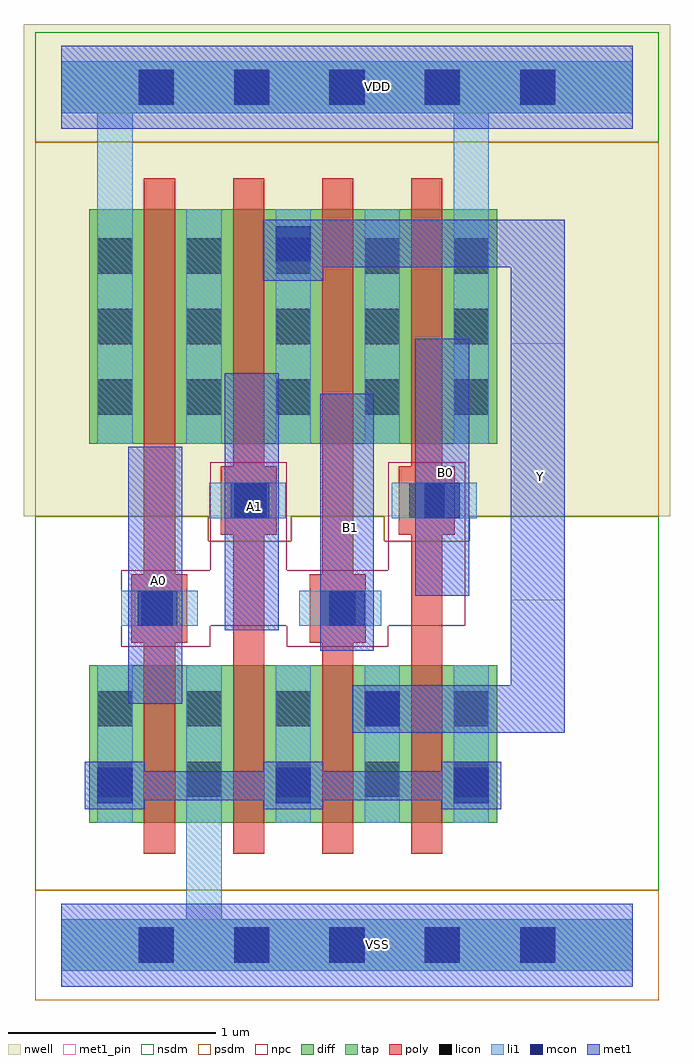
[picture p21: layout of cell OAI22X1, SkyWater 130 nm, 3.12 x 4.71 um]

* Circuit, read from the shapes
.subckt OAI22X1 A0 A1 B0 B1 VDD VSS Y
XM1 VSS A0 n1 VSS sky130_fd_pr__nfet_01v8 w=0.76 l=0.15
XM2 n1 A1 VSS VSS sky130_fd_pr__nfet_01v8 w=0.76 l=0.15
XM3 Y B1 n1 VSS sky130_fd_pr__nfet_01v8 w=0.76 l=0.15
XM4 n1 B0 Y VSS sky130_fd_pr__nfet_01v8 w=0.76 l=0.15
XM5 n2 A0 VDD VDD sky130_fd_pr__pfet_01v8 w=1.13 l=0.15
XM6 Y A1 n2 VDD sky130_fd_pr__pfet_01v8 w=1.13 l=0.15
XM7 n3 B1 Y VDD sky130_fd_pr__pfet_01v8 w=1.13 l=0.15
XM8 VDD B0 n3 VDD sky130_fd_pr__pfet_01v8 w=1.13 l=0.15
.ends

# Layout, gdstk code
from math import pi, radians
import gdstk
lib = gdstk.Library(unit=1e-6, precision=1e-09)
def R(c, l, rs):  # rectangles x0, y0, x1, y1
    for r in rs: c.add(gdstk.rectangle(r[:2], r[2:], *l))
def A(c, l, x, y, w, h, nx, ny, dx, dy):  # array of equal rectangles
    R(c, l, [(x+i*dx, y+j*dy, x+i*dx+w, y+j*dy+h) for i in range(nx) for j in range(ny)])
def P(c, l, *ps):  # polygons
    for p in ps: c.add(gdstk.Polygon(p, *l))
nwell = (64, 20)
diff = (65, 20)
tap = (65, 44)
poly = (66, 20)
licon = (66, 44)
li1 = (67, 20)
mcon = (67, 44)
met1_pin = (68, 16)
met1 = (68, 20)
nsdm = (93, 44)
psdm = (94, 20)
npc = (95, 20)

pfet_01v8_cdns_715785618 = lib.new_cell('pfet_01v8_CDNS_71578561820126')
R(pfet_01v8_cdns_715785618, nwell, [(-0.405,-0.18,0.385,1.31)])
R(pfet_01v8_cdns_715785618, diff, [(-0.225,0,0,1.13), (0,0,0.15,1.13), (0.15,0,0.205,1.13)])
R(pfet_01v8_cdns_715785618, poly, [(0,-0.15,0.15,-0.095), (0,-0.095,0.15,0), (0,0,0.15,1.13), (0,1.13,0.15,1.225), (0,1.225,0.15,1.28)])
R(pfet_01v8_cdns_715785618, psdm, [(-0.235,-0.13,0.215,1.26)])

nfet_01v8_cdns_715785618 = lib.new_cell('nfet_01v8_CDNS_71578561820127')
R(nfet_01v8_cdns_715785618, diff, [(-0.055,0,0,0.76), (0,0,0.15,0.76), (0.15,0,0.375,0.76)])
R(nfet_01v8_cdns_715785618, poly, [(0,-0.15,0.15,-0.095), (0,-0.095,0.15,0), (0,0,0.15,0.76), (0,0.76,0.15,0.855), (0,0.855,0.15,0.91)])
R(nfet_01v8_cdns_715785618, licon, [(0.205,0.125,0.375,0.295), (0.205,0.465,0.375,0.635)])
R(nfet_01v8_cdns_715785618, li1, [(0.205,0,0.375,0.76)])
R(nfet_01v8_cdns_715785618, nsdm, [(-0.065,-0.13,0.385,0.89)])

c_pfet_01v8_cdns_715785618 = lib.new_cell('pfet_01v8_CDNS_71578561820128')
R(c_pfet_01v8_cdns_715785618, nwell, [(-0.445,-0.18,0.385,1.31)])
R(c_pfet_01v8_cdns_715785618, diff, [(-0.265,0,0,1.13), (0,0,0.15,1.13), (0.15,0,0.205,1.13)])
R(c_pfet_01v8_cdns_715785618, poly, [(0,-0.15,0.15,-0.095), (0,-0.095,0.15,0), (0,0,0.15,1.13), (0,1.13,0.15,1.225), (0,1.225,0.15,1.28)])
A(c_pfet_01v8_cdns_715785618, licon, -0.225, 0.14, 0.17, 0.17, 1, 3, 0, 0.34)
R(c_pfet_01v8_cdns_715785618, li1, [(-0.225,0,-0.055,1.13)])
R(c_pfet_01v8_cdns_715785618, psdm, [(-0.405,-0.13,0.215,1.26)])

c_pfet_01v8_cdns_715785618_ = lib.new_cell('pfet_01v8_CDNS_71578561820129')
R(c_pfet_01v8_cdns_715785618_, nwell, [(-0.445,-0.18,0.555,1.31)])
R(c_pfet_01v8_cdns_715785618_, diff, [(-0.265,0,0,1.13), (0,0,0.15,1.13), (0.15,0,0.375,1.13)])
R(c_pfet_01v8_cdns_715785618_, poly, [(0,-0.15,0.15,-0.095), (0,-0.095,0.15,0), (0,0,0.15,1.13), (0,1.13,0.15,1.225), (0,1.225,0.15,1.28)])
A(c_pfet_01v8_cdns_715785618_, licon, -0.225, 0.14, 0.17, 0.17, 1, 3, 0, 0.34)
R(c_pfet_01v8_cdns_715785618_, li1, [(-0.225,0,-0.055,1.13)])
R(c_pfet_01v8_cdns_715785618_, psdm, [(-0.405,-0.13,0.385,1.26)])

c_nfet_01v8_cdns_715785618 = lib.new_cell('nfet_01v8_CDNS_7157856182020')
R(c_nfet_01v8_cdns_715785618, diff, [(-0.265,0,0,0.76), (0,0,0.15,0.76), (0.15,0,0.205,0.76)])
R(c_nfet_01v8_cdns_715785618, poly, [(0,-0.15,0.15,-0.095), (0,-0.095,0.15,0), (0,0,0.15,0.76), (0,0.76,0.15,0.855), (0,0.855,0.15,0.91)])
R(c_nfet_01v8_cdns_715785618, licon, [(-0.225,0.125,-0.055,0.295), (-0.225,0.465,-0.055,0.635)])
R(c_nfet_01v8_cdns_715785618, li1, [(-0.225,0,-0.055,0.76)])
R(c_nfet_01v8_cdns_715785618, nsdm, [(-0.405,-0.13,0.215,0.89)])

c_pfet_01v8_cdns_715785618__ = lib.new_cell('pfet_01v8_CDNS_71578561820130')
R(c_pfet_01v8_cdns_715785618__, nwell, [(-0.235,-0.18,0.555,1.31)])
R(c_pfet_01v8_cdns_715785618__, diff, [(-0.055,0,0,1.13), (0,0,0.15,1.13), (0.15,0,0.375,1.13)])
R(c_pfet_01v8_cdns_715785618__, poly, [(0,-0.15,0.15,-0.095), (0,-0.095,0.15,0), (0,0,0.15,1.13), (0,1.13,0.15,1.225), (0,1.225,0.15,1.28)])
A(c_pfet_01v8_cdns_715785618__, licon, 0.205, 0.14, 0.17, 0.17, 1, 3, 0, 0.34)
R(c_pfet_01v8_cdns_715785618__, li1, [(0.205,0,0.375,1.13)])
R(c_pfet_01v8_cdns_715785618__, psdm, [(-0.065,-0.13,0.385,1.26)])

c_nfet_01v8_cdns_715785618_ = lib.new_cell('nfet_01v8_CDNS_715785618207')
R(c_nfet_01v8_cdns_715785618_, diff, [(-0.225,0,0,0.76), (0,0,0.15,0.76), (0.15,0,0.415,0.76)])
R(c_nfet_01v8_cdns_715785618_, poly, [(0,-0.15,0.15,-0.095), (0,-0.095,0.15,0), (0,0,0.15,0.76), (0,0.76,0.15,0.855), (0,0.855,0.15,0.91)])
R(c_nfet_01v8_cdns_715785618_, licon, [(-0.225,0.125,-0.055,0.295), (0.205,0.125,0.375,0.295), (-0.225,0.465,-0.055,0.635), (0.205,0.465,0.375,0.635)])
R(c_nfet_01v8_cdns_715785618_, li1, [(-0.225,0,-0.055,0.76), (0.205,0,0.375,0.76)])
R(c_nfet_01v8_cdns_715785618_, nsdm, [(-0.235,-0.13,0.555,0.89)])

c_nfet_01v8_cdns_715785618__ = lib.new_cell('nfet_01v8_CDNS_71578561820131')
R(c_nfet_01v8_cdns_715785618__, diff, [(-0.055,0,0,0.76), (0,0,0.15,0.76), (0.15,0,0.375,0.76)])
R(c_nfet_01v8_cdns_715785618__, poly, [(0,-0.15,0.15,-0.095), (0,-0.095,0.15,0), (0,0,0.15,0.76), (0,0.76,0.15,0.855), (0,0.855,0.15,0.91)])
R(c_nfet_01v8_cdns_715785618__, licon, [(0.205,0.125,0.375,0.295), (0.205,0.465,0.375,0.635)])
R(c_nfet_01v8_cdns_715785618__, li1, [(0.205,0,0.375,0.76)])
R(c_nfet_01v8_cdns_715785618__, nsdm, [(-0.065,-0.13,0.385,0.89)])

l1m1_c_cdns_715785618203 = lib.new_cell('L1M1_C_CDNS_715785618203')
R(l1m1_c_cdns_715785618203, li1, [(-0.165,-0.085,0.165,0.085)])
R(l1m1_c_cdns_715785618203, mcon, [(-0.085,-0.085,0.085,0.085)])
R(l1m1_c_cdns_715785618203, met1, [(-0.115,-0.145,0.115,0.145)])

pyl1con_c_cdns_715785618 = lib.new_cell('PYL1CON_C_CDNS_715785618200')
R(pyl1con_c_cdns_715785618, poly, [(-0.135,-0.165,0.135,0.165)])
R(pyl1con_c_cdns_715785618, licon, [(-0.085,-0.085,0.085,0.085)])
R(pyl1con_c_cdns_715785618, npc, [(-0.185,-0.185,0.185,0.185)])

licondiff_c_cdns_7157856 = lib.new_cell('LICONDIFF_C_CDNS_7157856182013')
R(licondiff_c_cdns_7157856, diff, [(-0.125,-0.145,0.125,0.145)])
R(licondiff_c_cdns_7157856, licon, [(-0.085,-0.085,0.085,0.085), (-0.085,-0.085,0.085,0.085)])

oai22x1 = lib.new_cell('OAI22X1')
R(oai22x1, nwell, [(-0.18,2.07,2.94,4.305), (-0.18,3.875,2.94,4.445)])
A(oai22x1, licon, 0.375, -0.085, 0.17, 0.17, 5, 1, 0.46, 0)
R(oai22x1, licon, [(0.375,4.055,0.545,4.225), (0.375,4.055,0.545,4.225), (0.835,4.055,1.005,4.225), (0.835,4.055,1.005,4.225), (1.295,4.055,1.465,4.225), (1.295,4.055,1.465,4.225), (1.755,4.055,1.925,4.225), (1.755,4.055,1.925,4.225), (2.215,4.055,2.385,4.225), (2.215,4.055,2.385,4.225)])
R(oai22x1, li1, [(0.62,1.54,0.66,1.71), (1.15,1.54,1.215,1.71), (0.715,2.06,0.755,2.23), (1.595,2.06,1.675,2.23)])
A(oai22x1, mcon, 0.375, -0.085, 0.17, 0.17, 5, 1, 0.46, 0)
R(oai22x1, mcon, [(0.375,4.055,0.545,4.225), (0.375,4.055,0.545,4.225), (0.835,4.055,1.005,4.225), (0.835,4.055,1.005,4.225), (1.295,4.055,1.465,4.225), (1.295,4.055,1.465,4.225), (1.755,4.055,1.925,4.225), (1.755,4.055,1.925,4.225), (2.215,4.055,2.385,4.225), (2.215,4.055,2.385,4.225)])
R(oai22x1, met1_pin, [(0.325,1.165,0.585,2.405), (1.25,1.42,1.51,2.66), (0.79,1.52,1.05,2.76), (2.17,1.665,2.43,2.905), (1.71,1.685,1.97,2.925)])
R(oai22x1, nsdm, [(-0.125,3.875,2.885,4.405), (-0.125,3.875,2.885,4.405), (-0.125,3.93,2.885,4.35), (-0.125,3.93,2.885,4.35)])
P(oai22x1, nsdm, [(2.885,2.07),(1.97,2.07),(1.97,1.95),(1.56,1.95),(1.56,2.07),(1.11,2.07),(1.11,1.95),(0.71,1.95),(0.71,2.07),(-0.125,2.07),(-0.125,0.265),(2.885,0.265)])
R(oai22x1, psdm, [(-0.125,-0.265,2.885,0.265), (-0.125,-0.21,2.885,0.21)])
P(oai22x1, psdm, [(2.885,3.875),(-0.125,3.875),(-0.125,2.07),(0.71,2.07),(0.71,1.95),(1.11,1.95),(1.11,2.07),(1.56,2.07),(1.56,1.95),(1.97,1.95),(1.97,2.07),(2.885,2.07)])
P(oai22x1, npc, [(1.95,2.33),(1.58,2.33),(1.58,1.81),(1.09,1.81),(1.09,2.33),(0.72,2.33),(0.72,1.81),(0.29,1.81),(0.29,1.44),(0.72,1.44),(0.72,1.54),(1.09,1.54),(1.09,1.44),(1.58,1.44),(1.58,1.54),(1.95,1.54)])
oai22x1.add(gdstk.FlexPath([(0.475,2.27),(0.475,1.395)], 0.15, ends="flush", simple_path=True, layer=66, datatype=20))  # poly
oai22x1.add(gdstk.FlexPath([(0.905,2.27),(0.905,1.5)], 0.15, ends="flush", simple_path=True, layer=66, datatype=20))  # poly
oai22x1.add(gdstk.FlexPath([(1.335,2.27),(1.335,1.5)], 0.15, ends="flush", simple_path=True, layer=66, datatype=20))  # poly
oai22x1.add(gdstk.FlexPath([(1.765,2.27),(1.765,1.5)], 0.15, ends="flush", simple_path=True, layer=66, datatype=20))  # poly
oai22x1.add(gdstk.FlexPath([(0.69,3.115),(0.69,3.55)], 0.17, ends="flush", simple_path=True, layer=67, datatype=20))  # li1
oai22x1.add(gdstk.FlexPath([(0.69,2.775),(0.69,3.155)], 0.17, ends="flush", simple_path=True, layer=67, datatype=20))  # li1
oai22x1.add(gdstk.FlexPath([(1.55,2.73),(1.55,3.55)], 0.17, ends="flush", simple_path=True, layer=67, datatype=20))  # li1
oai22x1.add(gdstk.FlexPath([(1.55,2.42),(1.55,2.815)], 0.17, ends="flush", simple_path=True, layer=67, datatype=20))  # li1
oai22x1.add(gdstk.FlexPath([(1.55,3.155),(1.55,3.215)], 0.17, ends="flush", simple_path=True, layer=67, datatype=20))  # li1
oai22x1.add(gdstk.FlexPath([(0.69,2.42),(0.69,2.815)], 0.17, ends="flush", simple_path=True, layer=67, datatype=20))  # li1
oai22x1.add(gdstk.FlexPath([(0.26,3.55),(0.26,4.14)], 0.17, ends=(0, 0.085), simple_path=True, layer=67, datatype=20))  # li1
oai22x1.add(gdstk.FlexPath([(0.69,0.59),(0.69,0.005)], 0.17, ends="flush", simple_path=True, layer=67, datatype=20))  # li1
oai22x1.add(gdstk.FlexPath([(1.98,3.55),(1.98,4.14)], 0.17, ends="flush", simple_path=True, layer=67, datatype=20))  # li1
oai22x1.add(gdstk.FlexPath([(2.675,4.14),(0,4.14)], 0.25, ends=(0.085, 0), simple_path=True, layer=67, datatype=20))  # li1
oai22x1.add(gdstk.FlexPath([(2.675,4.14),(0,4.14)], 0.25, ends=(0.085, 0), simple_path=True, layer=67, datatype=20))  # li1
oai22x1.add(gdstk.FlexPath([(2.675,0),(0,0)], 0.25, ends=(0.085, 0), simple_path=True, layer=67, datatype=20))  # li1
oai22x1.add(gdstk.FlexPath([(0.26,4.14),(0.215,4.14)], 0.17, ends=(0.085, 0), simple_path=True, layer=67, datatype=20))  # li1
oai22x1.add(gdstk.FlexPath([(0,4.14),(2.76,4.14)], 0.4, ends="flush", simple_path=True, layer=68, datatype=16))  # met1_pin
oai22x1.add(gdstk.FlexPath([(0,4.14),(2.76,4.14)], 0.4, ends="flush", simple_path=True, layer=68, datatype=16))  # met1_pin
oai22x1.add(gdstk.FlexPath([(0,0),(2.76,0)], 0.4, ends="flush", simple_path=True, layer=68, datatype=16))  # met1_pin
oai22x1.add(gdstk.FlexPath([(0,4.14),(2.76,4.14)], 0.25, ends="flush", simple_path=True, layer=65, datatype=44))  # tap
oai22x1.add(gdstk.FlexPath([(0,0),(2.76,0)], 0.25, ends="flush", simple_path=True, layer=65, datatype=44))  # tap
oai22x1.add(gdstk.FlexPath([(0,4.14),(2.76,4.14)], 0.25, ends="flush", simple_path=True, layer=65, datatype=44))  # tap
oai22x1.add(gdstk.FlexPath([(1.38,1.42),(1.38,2.66)], 0.26, ends="flush", simple_path=True, layer=68, datatype=20))  # met1
oai22x1.add(gdstk.FlexPath([(0.92,1.52),(0.92,2.76)], 0.26, ends="flush", simple_path=True, layer=68, datatype=20))  # met1
oai22x1.add(gdstk.FlexPath([(1.84,1.685),(1.84,2.925)], 0.26, ends="flush", simple_path=True, layer=68, datatype=20))  # met1
oai22x1.add(gdstk.FlexPath([(1.12,3.385),(2.25,3.385)], 0.23, ends=(0.145, 0), simple_path=True, layer=68, datatype=20))  # met1
oai22x1.add(gdstk.FlexPath([(1.55,1.14),(2.3,1.14)], 0.23, ends="flush", simple_path=True, layer=68, datatype=20))  # met1
oai22x1.add(gdstk.FlexPath([(2.3,1.025),(2.3,3.5)], 0.26, ends="flush", simple_path=True, layer=68, datatype=20))  # met1
oai22x1.add(gdstk.FlexPath([(0.26,0.77),(1.98,0.77)], 0.14, ends="flush", simple_path=True, layer=68, datatype=20))  # met1
oai22x1.add(gdstk.FlexPath([(1.12,3.205),(1.12,3.385)], 0.29, ends=(0, 0.115), simple_path=True, layer=68, datatype=20))  # met1
oai22x1.add(gdstk.FlexPath([(0.455,1.165),(0.455,2.405)], 0.26, ends="flush", simple_path=True, layer=68, datatype=20))  # met1
oai22x1.add(gdstk.FlexPath([(0,4.14),(2.76,4.14)], 0.4, ends="flush", simple_path=True, layer=68, datatype=20))  # met1
oai22x1.add(gdstk.FlexPath([(0,0),(2.76,0)], 0.4, ends="flush", simple_path=True, layer=68, datatype=20))  # met1
oai22x1.add(gdstk.Reference(pfet_01v8_cdns_715785618, (1.41,2.42), rotation=pi, x_reflection=True))
oai22x1.add(gdstk.Reference(nfet_01v8_cdns_715785618, (1.26,0.59)))
oai22x1.add(gdstk.Reference(c_pfet_01v8_cdns_715785618, (1.84,2.42), rotation=pi, x_reflection=True))
oai22x1.add(gdstk.Reference(c_pfet_01v8_cdns_715785618_, (0.4,2.42)))
oai22x1.add(gdstk.Reference(c_nfet_01v8_cdns_715785618, (1.84,0.59), rotation=pi, x_reflection=True))
oai22x1.add(gdstk.Reference(c_pfet_01v8_cdns_715785618__, (0.83,2.42)))
oai22x1.add(gdstk.Reference(c_nfet_01v8_cdns_715785618_, (0.55,0.59), rotation=pi, x_reflection=True))
oai22x1.add(gdstk.Reference(c_nfet_01v8_cdns_715785618__, (0.83,0.59)))
oai22x1.add(gdstk.Reference(l1m1_c_cdns_715785618203, (1.84,2.145), x_reflection=True))
oai22x1.add(gdstk.Reference(l1m1_c_cdns_715785618203, (1.38,1.625), x_reflection=True))
oai22x1.add(gdstk.Reference(l1m1_c_cdns_715785618203, (0.92,2.145), x_reflection=True))
oai22x1.add(gdstk.Reference(l1m1_c_cdns_715785618203, (0.455,1.625), x_reflection=True))
oai22x1.add(gdstk.Reference(l1m1_c_cdns_715785618203, (1.12,3.385), rotation=pi/2))
oai22x1.add(gdstk.Reference(l1m1_c_cdns_715785618203, (1.55,1.14), rotation=pi/2))
oai22x1.add(gdstk.Reference(l1m1_c_cdns_715785618203, (1.98,0.77), rotation=pi/2))
oai22x1.add(gdstk.Reference(l1m1_c_cdns_715785618203, (1.12,0.77), rotation=pi/2))
oai22x1.add(gdstk.Reference(l1m1_c_cdns_715785618203, (0.26,0.77), rotation=pi/2))
oai22x1.add(gdstk.Reference(pyl1con_c_cdns_715785618, (1.765,2.145), x_reflection=True))
oai22x1.add(gdstk.Reference(pyl1con_c_cdns_715785618, (1.335,1.625), x_reflection=True))
oai22x1.add(gdstk.Reference(pyl1con_c_cdns_715785618, (0.905,2.145), x_reflection=True))
oai22x1.add(gdstk.Reference(pyl1con_c_cdns_715785618, (0.475,1.625), x_reflection=True))
oai22x1.add(gdstk.Reference(licondiff_c_cdns_7157856, (1.55,3.325)))
oai22x1.add(gdstk.Reference(licondiff_c_cdns_7157856, (1.55,2.985)))
oai22x1.add(gdstk.Reference(licondiff_c_cdns_7157856, (1.55,2.645)))
oai22x1.add(gdstk.Reference(licondiff_c_cdns_7157856, (0.69,3.325)))
oai22x1.add(gdstk.Reference(licondiff_c_cdns_7157856, (0.69,2.985)))
oai22x1.add(gdstk.Reference(licondiff_c_cdns_7157856, (0.69,2.645)))
oai22x1.add(gdstk.Label('B1', (1.395,2.015), layer=68, texttype=20))
oai22x1.add(gdstk.Label('A1', (0.935,2.115), layer=68, texttype=20))
oai22x1.add(gdstk.Label('B0', (1.855,2.28), layer=68, texttype=20))
oai22x1.add(gdstk.Label('Y', (2.315,2.26), layer=68, texttype=20))
oai22x1.add(gdstk.Label('VDD', (1.525,4.145), layer=68, texttype=20))
oai22x1.add(gdstk.Label('VDD', (1.525,4.145), layer=68, texttype=20))
oai22x1.add(gdstk.Label('VSS', (1.525,0.005), layer=68, texttype=20))
oai22x1.add(gdstk.Label('A0', (0.47,1.76), layer=68, texttype=20))

lib.write_gds('OAI22X1.gds')
